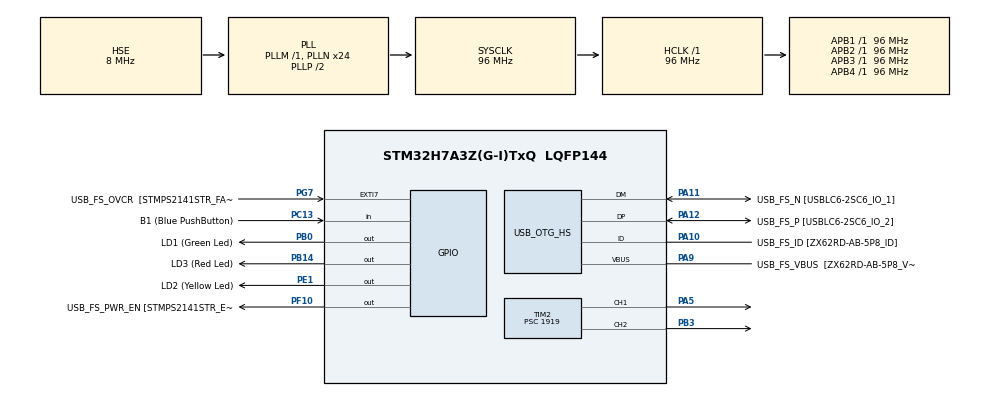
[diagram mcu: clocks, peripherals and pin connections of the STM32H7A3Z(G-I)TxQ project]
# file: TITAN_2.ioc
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Mcu.Family=STM32H7
Mcu.Name=STM32H7A3Z(G-I)TxQ
Mcu.Package=LQFP144
NVIC.PriorityGroup=NVIC_PRIORITYGROUP_4
PA10.GPIO_Label=USB_FS_ID [ZX62RD-AB-5P8_ID]
PA10.Mode=OTG/Dual-Role-Device-FS
PA10.Signal=USB_OTG_HS_ID
PA11.GPIO_Label=USB_FS_N [USBLC6-2SC6_IO_1]
PA11.Mode=OTG/Dual-Role-Device-FS
PA11.Signal=USB_OTG_HS_DM
PA12.GPIO_Label=USB_FS_P [USBLC6-2SC6_IO_2]
PA12.Mode=OTG/Dual-Role-Device-FS
PA12.Signal=USB_OTG_HS_DP
PA5.Signal=S_TIM2_CH1_ETR
PA9.GPIO_Label=USB_FS_VBUS  [ZX62RD-AB-5P8_VBUS]
PA9.Mode=Activate_VBUS_FS
PA9.Signal=USB_OTG_HS_VBUS
PB0.GPIO_Label=LD1 (Green Led)
PB0.Signal=GPIO_Output
PB14.GPIO_Label=LD3 (Red Led)
PB14.Signal=GPIO_Output
PB3.Signal=S_TIM2_CH2
PC13.GPIO_Label=B1 (Blue PushButton)
PC13.Signal=GPIO_Input
PC14-OSC32_IN.GPIO_Label=OSC32_IN
PC14-OSC32_IN.Mode=LSE-External-Oscillator
PC14-OSC32_IN.Signal=RCC_OSC32_IN
PC15-OSC32_OUT.GPIO_Label=OSC32_OUT
PC15-OSC32_OUT.Mode=LSE-External-Oscillator
PC15-OSC32_OUT.Signal=RCC_OSC32_OUT
PD8.GPIO_Label=STLINK_RX
PD8.Signal=USART3_TX
PD9.GPIO_Label=STLINK_TX
PD9.Signal=USART3_RX
PE1.GPIO_Label=LD2 (Yellow Led)
PE1.Signal=GPIO_Output
PF10.GPIO_Label=USB_FS_PWR_EN [STMPS2141STR_EN]
PF10.Signal=GPIO_Output
PG7.GPIO_Label=USB_FS_OVCR  [STMPS2141STR_FAULT]
PG7.Signal=GPXTI7
PH0-OSC_IN.GPIO_Label=PH0-MCU
PH0-OSC_IN.Mode=HSE-External-Clock-Source
PH0-OSC_IN.Signal=RCC_OSC_IN
PH1-OSC_OUT.GPIO_Label=PH1-MCU
PH1-OSC_OUT.Signal=RCC_OSC_OUT
ProjectManager.HeapSize=0x200
ProjectManager.StackSize=0x400
ProjectManager.TargetToolchain=STM32CubeIDE
RCC.ADCFreq_Value=16125000
RCC.APB1Freq_Value=96000000
RCC.APB2Freq_Value=96000000
RCC.APB3Freq_Value=96000000
RCC.APB4Freq_Value=96000000
RCC.CortexFreq_Value=96000000
RCC.DIVM1=1
RCC.DIVM3=1
RCC.DIVN1=24
RCC.DIVN3=24
RCC.DIVQ1=4
RCC.HCLKFreq_Value=96000000
RCC.HSE_VALUE=8000000
RCC.PLL2FRACN=0
RCC.PLL3FRACN=0
RCC.PLLFRACN=0
RCC.PLLSourceVirtual=RCC_PLLSOURCE_HSE
RCC.PWR_Regulator_Voltage_Scale=PWR_REGULATOR_VOLTAGE_SCALE0
RCC.SYSCLKFreq_VALUE=96000000
RCC.SYSCLKSource=RCC_SYSCLKSOURCE_PLLCLK
RCC.SupplySource=PWR_DIRECT_SMPS_SUPPLY
RCC.USBCLockSelection=RCC_USBCLKSOURCE_HSI48
RCC.USBFreq_Value=48000000
SH.S_TIM2_CH1_ETR.0=TIM2_CH1,PWM Generation1 CH1
SH.S_TIM2_CH2.0=TIM2_CH2,PWM Generation2 CH2
TIM2.AutoReloadPreload=TIM_AUTORELOAD_PRELOAD_DISABLE
TIM2.Channel-PWM\ Generation1\ CH1=TIM_CHANNEL_1
TIM2.Channel-PWM\ Generation2\ CH2=TIM_CHANNEL_2
TIM2.Period=999
TIM2.Prescaler=1919
TIM2.Pulse-PWM\ Generation1\ CH1=0
VP_TIM2_VS_ClockSourceINT.Mode=Internal
board=NUCLEO-H7A3ZI-Q

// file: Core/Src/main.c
/* USER CODE BEGIN Header */
/**
 ******************************************************************************
 * @file           : main.c
 * @brief          : Main program body
 ******************************************************************************
 * @attention
 *
 * Copyright (c) 2023 STMicroelectronics.
 * All rights reserved.
 *
 * This software is licensed under terms that can be found in the LICENSE file
 * in the root directory of this software component.
 * If no LICENSE file comes with this software, it is provided AS-IS.
 *
 ******************************************************************************
 */
/* USER CODE END Header */
#include "main.h"

TIM_HandleTypeDef htim2;

void SystemClock_Config(void);
static void MX_GPIO_Init(void);
static void MX_USB_OTG_HS_USB_Init(void);
static void MX_TIM2_Init(void);

int main(void)
{

  /* MCU Configuration--------------------------------------------------------*/

  /* Reset of all peripherals, Initializes the Flash interface and the Systick. */
  HAL_Init();

  /* Configure the system clock */
  SystemClock_Config();

  /* Initialize all configured peripherals */
  MX_GPIO_Init();
  MX_USB_OTG_HS_USB_Init();
  MX_TIM2_Init();
  /* USER CODE BEGIN 2 */
  int valeur;
	HAL_TIM_PWM_Start(&htim2, TIM_CHANNEL_1);
	HAL_TIM_PWM_Start(&htim2, TIM_CHANNEL_2);

	__HAL_TIM_SET_COMPARE(&htim2, TIM_CHANNEL_1, 50);
	__HAL_TIM_SET_COMPARE(&htim2, TIM_CHANNEL_2, 50);

	HAL_Delay(1000);
  	valeur=100;
  	__HAL_TIM_SET_COMPARE(&htim2, TIM_CHANNEL_1, 100);
	__HAL_TIM_SET_COMPARE(&htim2, TIM_CHANNEL_2, 100);
	HAL_Delay(1000);

  /* USER CODE END 2 */

  /* Infinite loop */
  /* USER CODE BEGIN WHILE */
 	 valeur=50;
  	int coeff=1;

	while (1)
	{
    /* USER CODE END WHILE */

    /* USER CODE BEGIN 3 */
		if (valeur<101 && valeur>49){

			__HAL_TIM_SET_COMPARE(&htim2, TIM_CHANNEL_1, valeur);
			__HAL_TIM_SET_COMPARE(&htim2, TIM_CHANNEL_2, valeur);

			HAL_Delay(100);
		}
		else{
			coeff=coeff*-1;
		}
		valeur = valeur + coeff;

	}
  /* USER CODE END 3 */
}

void SystemClock_Config(void)
{
  RCC_OscInitTypeDef RCC_OscInitStruct = {0};
  RCC_ClkInitTypeDef RCC_ClkInitStruct = {0};

  /*AXI clock gating */
  RCC->CKGAENR = 0xFFFFFFFF;

  /** Supply configuration update enable
  */
  HAL_PWREx_ConfigSupply(PWR_DIRECT_SMPS_SUPPLY);

  /** Configure the main internal regulator output voltage
  */
  __HAL_PWR_VOLTAGESCALING_CONFIG(PWR_REGULATOR_VOLTAGE_SCALE0);

  while(!__HAL_PWR_GET_FLAG(PWR_FLAG_VOSRDY)) {}

  /** Initializes the RCC Oscillators according to the specified parameters
  * in the RCC_OscInitTypeDef structure.
  */
  RCC_OscInitStruct.OscillatorType = RCC_OSCILLATORTYPE_HSI48|RCC_OSCILLATORTYPE_HSE;
  RCC_OscInitStruct.HSEState = RCC_HSE_BYPASS;
  RCC_OscInitStruct.HSI48State = RCC_HSI48_ON;
  RCC_OscInitStruct.PLL.PLLState = RCC_PLL_ON;
  RCC_OscInitStruct.PLL.PLLSource = RCC_PLLSOURCE_HSE;
  RCC_OscInitStruct.PLL.PLLM = 1;
  RCC_OscInitStruct.PLL.PLLN = 24;
  RCC_OscInitStruct.PLL.PLLP = 2;
  RCC_OscInitStruct.PLL.PLLQ = 4;
  RCC_OscInitStruct.PLL.PLLR = 2;
  RCC_OscInitStruct.PLL.PLLRGE = RCC_PLL1VCIRANGE_3;
  RCC_OscInitStruct.PLL.PLLVCOSEL = RCC_PLL1VCOWIDE;
  RCC_OscInitStruct.PLL.PLLFRACN = 0;
  if (HAL_RCC_OscConfig(&RCC_OscInitStruct) != HAL_OK)
  {
    Error_Handler();
  }

  /** Initializes the CPU, AHB and APB buses clocks
  */
  RCC_ClkInitStruct.ClockType = RCC_CLOCKTYPE_HCLK|RCC_CLOCKTYPE_SYSCLK
                              |RCC_CLOCKTYPE_PCLK1|RCC_CLOCKTYPE_PCLK2
                              |RCC_CLOCKTYPE_D3PCLK1|RCC_CLOCKTYPE_D1PCLK1;
  RCC_ClkInitStruct.SYSCLKSource = RCC_SYSCLKSOURCE_PLLCLK;
  RCC_ClkInitStruct.SYSCLKDivider = RCC_SYSCLK_DIV1;
  RCC_ClkInitStruct.AHBCLKDivider = RCC_HCLK_DIV1;
  RCC_ClkInitStruct.APB3CLKDivider = RCC_APB3_DIV1;
  RCC_ClkInitStruct.APB1CLKDivider = RCC_APB1_DIV1;
  RCC_ClkInitStruct.APB2CLKDivider = RCC_APB2_DIV1;
  RCC_ClkInitStruct.APB4CLKDivider = RCC_APB4_DIV1;

  if (HAL_RCC_ClockConfig(&RCC_ClkInitStruct, FLASH_LATENCY_2) != HAL_OK)
  {
    Error_Handler();
  }
}

static void MX_TIM2_Init(void)
{

  TIM_ClockConfigTypeDef sClockSourceConfig = {0};
  TIM_MasterConfigTypeDef sMasterConfig = {0};
  TIM_OC_InitTypeDef sConfigOC = {0};

  htim2.Instance = TIM2;
  htim2.Init.Prescaler = 1919;
  htim2.Init.CounterMode = TIM_COUNTERMODE_UP;
  htim2.Init.Period = 999;
  htim2.Init.ClockDivision = TIM_CLOCKDIVISION_DIV1;
  htim2.Init.AutoReloadPreload = TIM_AUTORELOAD_PRELOAD_DISABLE;
  if (HAL_TIM_Base_Init(&htim2) != HAL_OK)
  {
    Error_Handler();
  }
  sClockSourceConfig.ClockSource = TIM_CLOCKSOURCE_INTERNAL;
  if (HAL_TIM_ConfigClockSource(&htim2, &sClockSourceConfig) != HAL_OK)
  {
    Error_Handler();
  }
  if (HAL_TIM_PWM_Init(&htim2) != HAL_OK)
  {
    Error_Handler();
  }
  sMasterConfig.MasterOutputTrigger = TIM_TRGO_RESET;
  sMasterConfig.MasterSlaveMode = TIM_MASTERSLAVEMODE_DISABLE;
  if (HAL_TIMEx_MasterConfigSynchronization(&htim2, &sMasterConfig) != HAL_OK)
  {
    Error_Handler();
  }
  sConfigOC.OCMode = TIM_OCMODE_PWM1;
  sConfigOC.Pulse = 0;
  sConfigOC.OCPolarity = TIM_OCPOLARITY_HIGH;
  sConfigOC.OCFastMode = TIM_OCFAST_DISABLE;
  if (HAL_TIM_PWM_ConfigChannel(&htim2, &sConfigOC, TIM_CHANNEL_1) != HAL_OK)
  {
    Error_Handler();
  }
  if (HAL_TIM_PWM_ConfigChannel(&htim2, &sConfigOC, TIM_CHANNEL_2) != HAL_OK)
  {
    Error_Handler();
  }
  HAL_TIM_MspPostInit(&htim2);

}

static void MX_USB_OTG_HS_USB_Init(void)
{

}

static void MX_GPIO_Init(void)
{
  GPIO_InitTypeDef GPIO_InitStruct = {0};

  /* GPIO Ports Clock Enable */
  __HAL_RCC_GPIOC_CLK_ENABLE();
  __HAL_RCC_GPIOF_CLK_ENABLE();
  __HAL_RCC_GPIOH_CLK_ENABLE();
  __HAL_RCC_GPIOA_CLK_ENABLE();
  __HAL_RCC_GPIOB_CLK_ENABLE();
  __HAL_RCC_GPIOD_CLK_ENABLE();
  __HAL_RCC_GPIOG_CLK_ENABLE();
  __HAL_RCC_GPIOE_CLK_ENABLE();

  /*Configure GPIO pin Output Level */
  HAL_GPIO_WritePin(USB_FS_PWR_EN_GPIO_Port, USB_FS_PWR_EN_Pin, GPIO_PIN_RESET);

  /*Configure GPIO pin Output Level */
  HAL_GPIO_WritePin(GPIOB, LD1_Pin|LD3_Pin, GPIO_PIN_RESET);

  /*Configure GPIO pin Output Level */
  HAL_GPIO_WritePin(LD2_GPIO_Port, LD2_Pin, GPIO_PIN_RESET);

  /*Configure GPIO pin : B1_Pin */
  GPIO_InitStruct.Pin = B1_Pin;
  GPIO_InitStruct.Mode = GPIO_MODE_INPUT;
  GPIO_InitStruct.Pull = GPIO_NOPULL;
  HAL_GPIO_Init(B1_GPIO_Port, &GPIO_InitStruct);

  /*Configure GPIO pin : USB_FS_PWR_EN_Pin */
  GPIO_InitStruct.Pin = USB_FS_PWR_EN_Pin;
  GPIO_InitStruct.Mode = GPIO_MODE_OUTPUT_PP;
  GPIO_InitStruct.Pull = GPIO_NOPULL;
  GPIO_InitStruct.Speed = GPIO_SPEED_FREQ_LOW;
  HAL_GPIO_Init(USB_FS_PWR_EN_GPIO_Port, &GPIO_InitStruct);

  /*Configure GPIO pins : LD1_Pin LD3_Pin */
  GPIO_InitStruct.Pin = LD1_Pin|LD3_Pin;
  GPIO_InitStruct.Mode = GPIO_MODE_OUTPUT_PP;
  GPIO_InitStruct.Pull = GPIO_NOPULL;
  GPIO_InitStruct.Speed = GPIO_SPEED_FREQ_LOW;
  HAL_GPIO_Init(GPIOB, &GPIO_InitStruct);

  /*Configure GPIO pins : STLINK_RX_Pin STLINK_TX_Pin */
  GPIO_InitStruct.Pin = STLINK_RX_Pin|STLINK_TX_Pin;
  GPIO_InitStruct.Mode = GPIO_MODE_AF_PP;
  GPIO_InitStruct.Pull = GPIO_NOPULL;
  GPIO_InitStruct.Speed = GPIO_SPEED_FREQ_LOW;
  GPIO_InitStruct.Alternate = GPIO_AF7_USART3;
  HAL_GPIO_Init(GPIOD, &GPIO_InitStruct);

  /*Configure GPIO pin : USB_FS_OVCR_Pin */
  GPIO_InitStruct.Pin = USB_FS_OVCR_Pin;
  GPIO_InitStruct.Mode = GPIO_MODE_IT_RISING;
  GPIO_InitStruct.Pull = GPIO_NOPULL;
  HAL_GPIO_Init(USB_FS_OVCR_GPIO_Port, &GPIO_InitStruct);

  /*Configure GPIO pin : USB_FS_VBUS_Pin */
  GPIO_InitStruct.Pin = USB_FS_VBUS_Pin;
  GPIO_InitStruct.Mode = GPIO_MODE_INPUT;
  GPIO_InitStruct.Pull = GPIO_NOPULL;
  HAL_GPIO_Init(USB_FS_VBUS_GPIO_Port, &GPIO_InitStruct);

  /*Configure GPIO pin : USB_FS_ID_Pin */
  GPIO_InitStruct.Pin = USB_FS_ID_Pin;
  GPIO_InitStruct.Mode = GPIO_MODE_AF_PP;
  GPIO_InitStruct.Pull = GPIO_NOPULL;
  GPIO_InitStruct.Speed = GPIO_SPEED_FREQ_LOW;
  GPIO_InitStruct.Alternate = GPIO_AF10_OTG1_HS;
  HAL_GPIO_Init(USB_FS_ID_GPIO_Port, &GPIO_InitStruct);

  /*Configure GPIO pins : USB_FS_N_Pin USB_FS_P_Pin */
  GPIO_InitStruct.Pin = USB_FS_N_Pin|USB_FS_P_Pin;
  GPIO_InitStruct.Mode = GPIO_MODE_AF_PP;
  GPIO_InitStruct.Pull = GPIO_NOPULL;
  GPIO_InitStruct.Speed = GPIO_SPEED_FREQ_LOW;
  HAL_GPIO_Init(GPIOA, &GPIO_InitStruct);

  /*Configure GPIO pin : LD2_Pin */
  GPIO_InitStruct.Pin = LD2_Pin;
  GPIO_InitStruct.Mode = GPIO_MODE_OUTPUT_PP;
  GPIO_InitStruct.Pull = GPIO_NOPULL;
  GPIO_InitStruct.Speed = GPIO_SPEED_FREQ_LOW;
  HAL_GPIO_Init(LD2_GPIO_Port, &GPIO_InitStruct);

}

void Error_Handler(void)
{
	__disable_irq();
	while (1)
	{
	}
}
